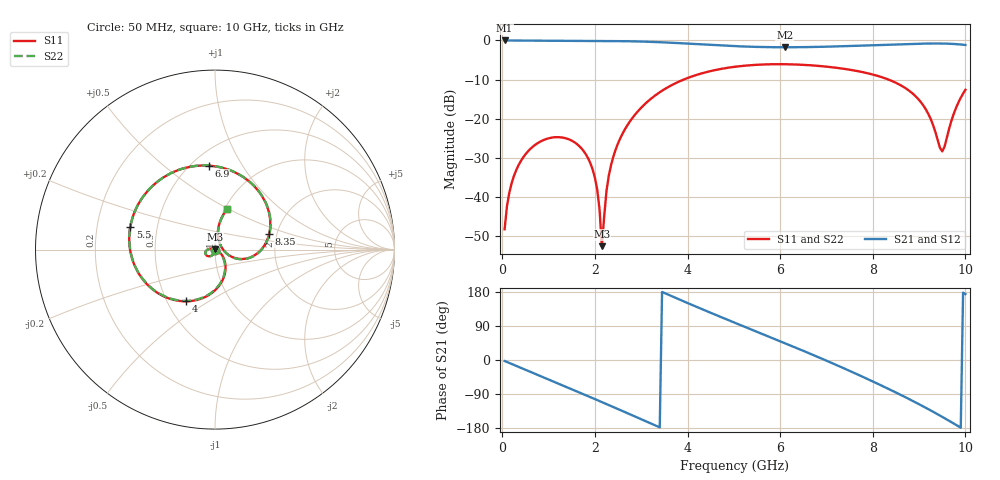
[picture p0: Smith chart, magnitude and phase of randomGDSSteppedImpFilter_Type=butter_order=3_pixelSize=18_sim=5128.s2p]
! freq	dB(S11)	phase(S11)	dB(S12)	phase(S12)
!  dB(S21)	phase(S21)	dB(S22)	phase(S22)
!S-par simulation data
#  GHz  S  DB  R 50
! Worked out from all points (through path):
!   200 points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, 50 MHz to 10 GHz, reference 50 ohm
!   highest |S21| = 0.00 dB at 50 MHz (marker M1); lowest = -1.7 dB at 6.1 GHz (marker M2)
!   group delay of S21, straight-line fit = 147 ps
!   lowest |S11| = -52.5 dB at 2.15 GHz (marker M3), VSWR 1.00, Z = 50 + j0.235 ohm
!   |S11| at or under -10 dB: start of sweep to 3.915 GHz; 8.341 GHz to end of sweep
!   |S22| runs from -56.7 to -6.1 dB; largest |S21 - S12| = 0
!   S11 on the Smith chart (normalised r, x): 50 MHz: 1.00, -0.01; 4 GHz: 0.62, -0.40; 5.5 GHz: 0.35, +0.12; 6.9 GHz: 0.60, +0.73; 8.35 GHz: 1.82, +0.36; 10 GHz: 1.03, +0.49
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0.05  -48.23 -87.7  -0.00 -2.6  -0.00 -2.6  -48.25 -87.5
0.25  -34.65 -102.3  -0.03 -12.9  -0.03 -12.9  -34.64 -102.2
0.6  -27.76 -121.6  -0.05 -30.9  -0.05 -30.9  -27.76 -121.4
1.2  -24.70 -153.4  -0.08 -61.7  -0.08 -61.7  -24.71 -152.8
1.75  -28.15 177.1  -0.11 -90.1  -0.11 -90.1  -28.14 178.9
2.05  -38.11 156.0  -0.12 -105.8  -0.12 -105.8  -38.14 163.8
2.1  -43.18 146.6  -0.12 -108.4  -0.12 -108.4  -43.35 161.6
2.15  -52.53 83.2  -0.13 -111.0  -0.13 -111.0  -56.74 -107.6
2.25  -38.41 -18.5  -0.14 -116.3  -0.14 -116.3  -38.54 -27.8
2.45  -27.79 -34.8  -0.16 -126.9  -0.16 -126.9  -27.80 -38.0
3.4  -13.22 -87.7  -0.45 -177.8  -0.45 -177.8  -13.23 -88.7
4  -9.60 -119.5  -0.81 150.4  -0.81 150.4  -9.60 -120.3
5.05  -6.68 -172.9  -1.47 96.8  -1.47 96.8  -6.68 -173.5
5.5  -6.22 164.8  -1.65 74.4  -1.65 74.4  -6.21 164.2
6.1  -6.07 135.0  -1.74 44.5  -1.74 44.5  -6.07 134.4
6.7  -6.38 104.6  -1.67 13.9  -1.67 13.9  -6.38 104.0
6.9  -6.58 94.2  -1.62 3.5  -1.62 3.5  -6.58 93.6
7.6  -7.67 57.2  -1.39 -34.2  -1.39 -34.2  -7.67 56.6
8.35  -10.04 16.3  -1.08 -76.9  -1.08 -76.9  -10.04 15.7
9.05  -15.94 -19.2  -0.82 -119.9  -0.82 -119.9  -15.94 -19.8
9.5  -28.32 29.4  -0.79 -150.0  -0.79 -150.0  -28.34 29.2
10  -12.61 73.2  -1.16 174.1  -1.16 174.1  -12.60 72.8
